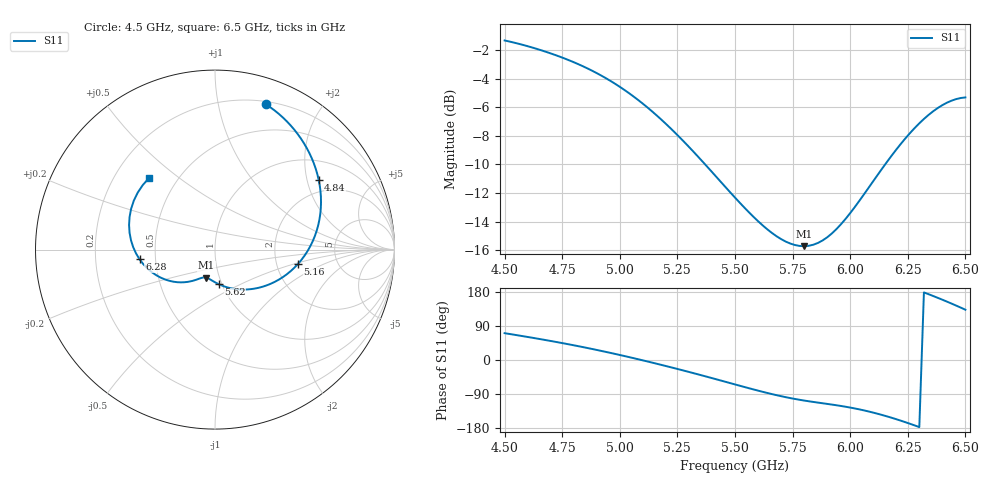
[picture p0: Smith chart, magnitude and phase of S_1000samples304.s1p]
! TOUCHSTONE file generated by CST MICROWAVE STUDIO
! Date and time: Thu Oct 27 17:10:22 2022
! Project name: L.cst
! Parameters = {Di=1.27; Epsilon_r=1.56; InnerDiameter=1.27; Length=2; Lf=10; Lg=60; OuterConductorThickness=0.2921; OuterDiameter=3.6; Wf=3; Wp=41.2; de=1.5; df=6.8; g=0.8; gx=1.3832; gy=2.30386; h=2.34; hf=1.524; px=11.1286; py=11.1783; w=9.7; wx=9.74536; wy=8.87441}
! Header version: 2018
! Port assignment regex: !\s*Touchstone port\s*([0-9]+)\s*=\s*(CST MWS port|CST DS port)\s*([0-9]+|Zmin|Zmax)\s*\(\"(.*)\"\)(\s*mode\s*([0-9]+))?.*
! Touchstone port assignment:
! Touchstone port 1 = CST MWS port 1 ("")
# GHz S DB R 50
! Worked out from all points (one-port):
!   101 points, 4.5 GHz to 6.5 GHz, reference 50 ohm
!   lowest |S11| = -15.7 dB at 5.8 GHz (marker M1), VSWR 1.39, Z = 43.4 - j13.9 ohm
!   |S11| at or under -10 dB: 5.37 GHz to 6.152 GHz (781.7 MHz wide, 13.6 % of centre)
!   S11 on the Smith chart (normalised r, x): 4.5 GHz: 0.23, +1.38; 4.84 GHz: 1.56, +2.36; 5.16 GHz: 2.64, -0.54; 5.62 GHz: 0.97, -0.39; 6.28 GHz: 0.41, -0.05; 6.5 GHz: 0.35, +0.39
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4.5  -1.33 70.8
4.62  -1.83 58.7
4.76  -2.59 43.5
4.84  -3.14 34.0
4.92  -3.79 23.9
5  -4.57 13.2
5.08  -5.50 2.0
5.16  -6.57 -9.8
5.26  -8.11 -25.2
5.32  -9.12 -34.7
5.38  -10.17 -44.5
5.5  -12.32 -64.5
5.62  -14.27 -83.9
5.7  -15.23 -95.5
5.76  -15.64 -102.8
5.8  -15.72 -107.0
5.84  -15.62 -110.7
5.9  -15.10 -115.8
6  -13.41 -125.5
6.06  -12.09 -133.0
6.14  -10.26 -145.3
6.2  -8.97 -156.3
6.26  -7.80 -168.4
6.28  -7.45 -172.7
6.34  -6.54 173.7
6.4  -5.86 159.1
6.44  -5.54 148.8
6.5  -5.32 132.7
